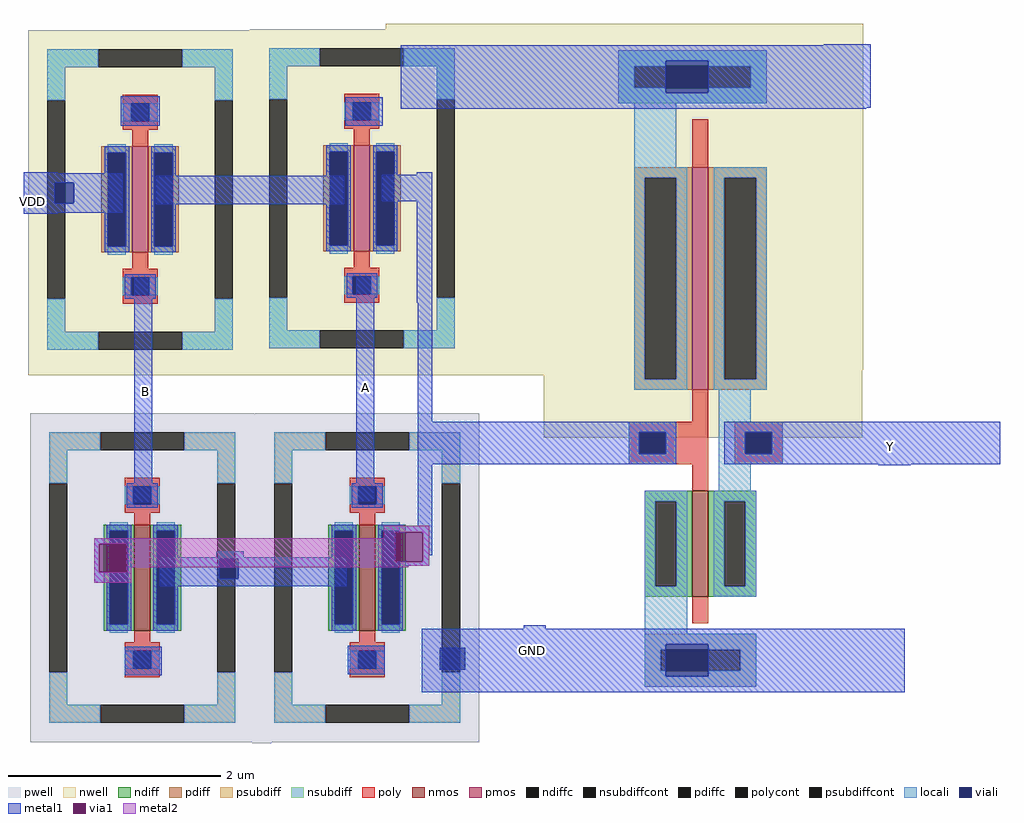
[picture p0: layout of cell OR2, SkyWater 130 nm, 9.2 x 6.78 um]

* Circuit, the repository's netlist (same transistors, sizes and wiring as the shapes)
* SPICE3 file created from OR2.ext - technology: sky130A

.subckt sky130_fd_pr__pfet_01v8_XGS3BL a_n73_n100# a_15_n100# w_n211_n319# a_n33_n197#
+ VSUBS
X0 a_15_n100# a_n33_n197# a_n73_n100# w_n211_n319# sky130_fd_pr__pfet_01v8 ad=0.29 pd=2.58 as=0.29 ps=2.58 w=1 l=0.15
.ends

.subckt sky130_fd_pr__nfet_01v8_648S5X a_n73_n100# a_n33_n188# a_15_n100# a_n175_n274#
X0 a_15_n100# a_n33_n188# a_n73_n100# a_n175_n274# sky130_fd_pr__nfet_01v8 ad=0.29 pd=2.58 as=0.29 ps=2.58 w=1 l=0.15
.ends

.subckt NOR2 B A Y VDD GND
XXM7 VDD m1_n360_716# VDD B GND sky130_fd_pr__pfet_01v8_XGS3BL
XXM8 GND A Y GND sky130_fd_pr__nfet_01v8_648S5X
XXM9 Y m1_n360_716# VDD A GND sky130_fd_pr__pfet_01v8_XGS3BL
XXM10 Y B GND GND sky130_fd_pr__nfet_01v8_648S5X
*C0 VDD 0 2.702835f
.ends

.subckt INV vdd vss out in
X0 out in vdd vdd sky130_fd_pr__pfet_01v8 ad=1.155 pd=5.3 as=1.155 ps=5.3 w=2.1 l=0.15
X1 out in vss vss sky130_fd_pr__nfet_01v8 ad=0.45 pd=2.9 as=0.45 ps=2.9 w=1 l=0.15
.ends

**.subckt OR2
XNOR2_0 B A NOR2_0/Y VDD GND NOR2
XINV_0 VDD GND Y NOR2_0/Y INV
*C0 VDD 0 5.002898f
**.ends

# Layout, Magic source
magic
tech sky130A
<< nwell >>
rect 680 724 1130 1037
rect 343 711 1130 724
rect 343 706 843 711
<< viali >>
rect 731 428 755 449
<< metal1 >>
rect 339 858 358 897
rect 449 683 459 702
rect 656 684 666 703
rect 710 683 720 702
rect 1144 621 1175 659
rect 810 407 831 470
use INV  INV_0
transform 1 0 979 0 1 797
box -285 -390 280 235
use NOR2  NOR2_0
transform 1 0 642 0 1 119
box -299 240 126 913
<< labels >>
rlabel metal1 1156 639 1156 639 1 Y
rlabel metal1 818 446 818 446 1 GND
rlabel metal1 347 870 347 870 1 VDD
rlabel metal1 454 690 454 690 1 B
rlabel metal1 661 694 661 694 1 A
<< end >>

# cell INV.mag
magic
tech sky130A
<< nwell >>
rect -150 -150 150 235
<< nmos >>
rect -10 -300 5 -200
<< pmos >>
rect -10 -105 5 105
<< ndiff >>
rect -55 -210 -10 -200
rect -55 -290 -45 -210
rect -25 -290 -10 -210
rect -55 -300 -10 -290
rect 5 -210 50 -200
rect 5 -290 20 -210
rect 40 -290 50 -210
rect 5 -300 50 -290
<< pdiff >>
rect -65 95 -10 105
rect -65 -95 -55 95
rect -25 -95 -10 95
rect -65 -105 -10 -95
rect 5 95 60 105
rect 5 -95 20 95
rect 50 -95 60 95
rect 5 -105 60 -95
<< ndiffc >>
rect -45 -290 -25 -210
rect 20 -290 40 -210
<< pdiffc >>
rect -55 -95 -25 95
rect 20 -95 50 95
<< psubdiff >>
rect -55 -350 50 -335
rect -55 -370 -40 -350
rect 35 -370 50 -350
rect -55 -385 50 -370
<< nsubdiff >>
rect -80 200 60 215
rect -80 180 -65 200
rect 45 180 60 200
rect -80 165 60 180
<< psubdiffcont >>
rect -40 -370 35 -350
<< nsubdiffcont >>
rect -65 180 45 200
<< poly >>
rect -10 105 5 150
rect -10 -135 5 -105
rect -70 -145 5 -135
rect -70 -165 -60 -145
rect -35 -165 5 -145
rect -70 -175 5 -165
rect 30 -145 75 -135
rect 30 -165 40 -145
rect 65 -165 75 -145
rect 30 -175 75 -165
rect -10 -200 5 -175
rect -10 -325 5 -300
<< polycont >>
rect -60 -165 -35 -145
rect 40 -165 65 -145
<< locali >>
rect -80 205 60 215
rect -80 200 -35 205
rect 5 200 60 205
rect -80 180 -65 200
rect 45 180 60 200
rect -80 175 -35 180
rect 5 175 60 180
rect -80 165 60 175
rect -65 105 -25 165
rect -65 95 -15 105
rect -65 -95 -55 95
rect -25 -95 -15 95
rect -65 -105 -15 -95
rect 10 95 60 105
rect 10 -95 20 95
rect 50 -95 60 95
rect 10 -105 60 -95
rect 15 -135 45 -105
rect -70 -145 -25 -135
rect -70 -165 -60 -145
rect -35 -165 -25 -145
rect -70 -175 -25 -165
rect 15 -145 75 -135
rect 15 -165 40 -145
rect 65 -165 75 -145
rect 15 -175 75 -165
rect 15 -200 45 -175
rect -55 -210 -15 -200
rect -55 -290 -45 -210
rect -25 -290 -15 -210
rect -55 -335 -15 -290
rect 10 -210 50 -200
rect 10 -290 20 -210
rect 40 -290 50 -210
rect 10 -300 50 -290
rect -55 -345 50 -335
rect -55 -350 -35 -345
rect 5 -350 50 -345
rect -55 -370 -40 -350
rect 35 -370 50 -350
rect -55 -375 -35 -370
rect 5 -375 50 -370
rect -55 -385 50 -375
<< viali >>
rect -35 200 5 205
rect -35 180 5 200
rect -35 175 5 180
rect -60 -165 -35 -145
rect 40 -165 65 -145
rect -35 -350 5 -345
rect -35 -370 5 -350
rect -35 -375 5 -370
<< metal1 >>
rect 114 220 158 221
rect -285 205 158 220
rect -285 175 -35 205
rect 5 175 158 205
rect -285 161 158 175
rect -285 160 154 161
rect -260 -145 -25 -135
rect -260 -165 -60 -145
rect -35 -165 -25 -145
rect -260 -175 -25 -165
rect 20 -145 280 -135
rect 20 -165 40 -145
rect 65 -165 280 -145
rect 20 -175 280 -165
rect -265 -345 190 -330
rect -265 -375 -35 -345
rect 5 -375 190 -345
rect -265 -390 190 -375
<< labels >>
rlabel metal1 155 196 155 196 1 vdd
rlabel metal1 250 -165 265 -145 1 out
rlabel metal1 175 -360 175 -360 1 vss
rlabel metal1 -240 -165 -225 -145 1 in
<< end >>

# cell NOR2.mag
magic
tech sky130A
magscale 1 2
<< nwell >>
rect 134 1552 164 1556
rect 68 1502 164 1552
rect 134 1310 164 1502
<< pwell >>
rect -244 788 -192 842
rect -176 480 -140 1100
<< viali >>
rect -548 1498 -512 1536
rect -238 790 -202 828
<< metal1 >>
rect -424 1644 -350 1700
rect 0 1644 70 1698
rect -584 1554 -542 1556
rect -584 1536 -420 1554
rect 134 1552 164 1556
rect -584 1498 -548 1536
rect -512 1498 -420 1536
rect -584 1480 -420 1498
rect -358 1496 -2 1550
rect 68 1502 164 1552
rect -584 1478 -542 1480
rect -398 934 -364 1358
rect 20 936 54 1360
rect 134 1310 164 1502
rect 136 890 164 1310
rect 72 878 164 890
rect -474 856 -404 866
rect -474 802 -464 856
rect -412 802 -404 856
rect -244 830 -192 842
rect -474 782 -404 802
rect -350 828 2 830
rect -350 790 -238 828
rect -202 790 2 828
rect 72 822 94 878
rect 146 834 164 878
rect 146 822 158 834
rect 72 814 158 822
rect -350 776 2 790
rect -416 608 -346 662
rect 4 610 74 664
<< via1 >>
rect -464 802 -412 856
rect 94 822 146 878
<< metal2 >>
rect 72 878 158 890
rect 72 866 94 878
rect -474 856 94 866
rect -474 802 -464 856
rect -412 822 94 856
rect 146 822 158 878
rect -412 814 158 822
rect -412 812 118 814
rect -412 802 -404 812
rect -474 782 -404 802
use sky130_fd_pr__pfet_01v8_XGS3BL  XM7
transform 1 0 -387 0 1 1505
box -211 -319 211 319
use sky130_fd_pr__nfet_01v8_648S5X  XM8
transform 1 0 -383 0 1 792
box -211 -310 211 310
use sky130_fd_pr__pfet_01v8_XGS3BL  XM9
transform 1 0 31 0 1 1507
box -211 -319 211 319
use sky130_fd_pr__nfet_01v8_648S5X  XM10
transform 1 0 41 0 1 792
box -211 -310 211 310
<< labels >>
rlabel metal1 -574 1520 -574 1520 1 VDD
rlabel metal1 142 1142 142 1142 1 Y
rlabel metal1 -174 782 -174 782 1 GND
rlabel metal1 -386 1150 -386 1150 1 B
rlabel metal1 32 1150 32 1150 1 A
<< end >>

# cell sky130_fd_pr__pfet_01v8_XGS3BL: kit device sky130_fd_pr__pfet_01v8, w 1.0 l 0.15 m 1 nf 1 diffcov 100 polycov 100 guard 1 glc 1 grc 1 gtc 1 gbc 1 tbcov 100 rlcov 100 topc 1 botc 1 poverlap 0 doverlap 1 lmin 0.15 wmin 0.42 compatible {sky130_fd_pr__pfet_01v8 sky130_fd_pr__pfet_01v8_lvt sky130_fd_pr__pfet_01v8_hvt sky130_fd_pr__pfet_g5v0d10v5} full_metal 1 viasrc 100 viadrn 100 viagate 100 viagb 0 viagr 0 viagl 0 viagt 0

# cell sky130_fd_pr__nfet_01v8_648S5X: kit device sky130_fd_pr__nfet_01v8, w 1.0 l 0.15 m 1 nf 1 diffcov 100 polycov 100 guard 1 glc 1 grc 1 gtc 1 gbc 1 tbcov 100 rlcov 100 topc 1 botc 1 poverlap 0 doverlap 1 lmin 0.15 wmin 0.42 compatible {sky130_fd_pr__nfet_01v8 sky130_fd_pr__nfet_01v8_lvt sky130_fd_bs_flash__special_sonosfet_star sky130_fd_pr__nfet_g5v0d10v5 sky130_fd_pr__nfet_05v0_nvt sky130_fd_pr__nfet_03v3_nvt} full_metal 1 viasrc 100 viadrn 100 viagate 100 viagb 0 viagr 0 viagl 0 viagt 0
